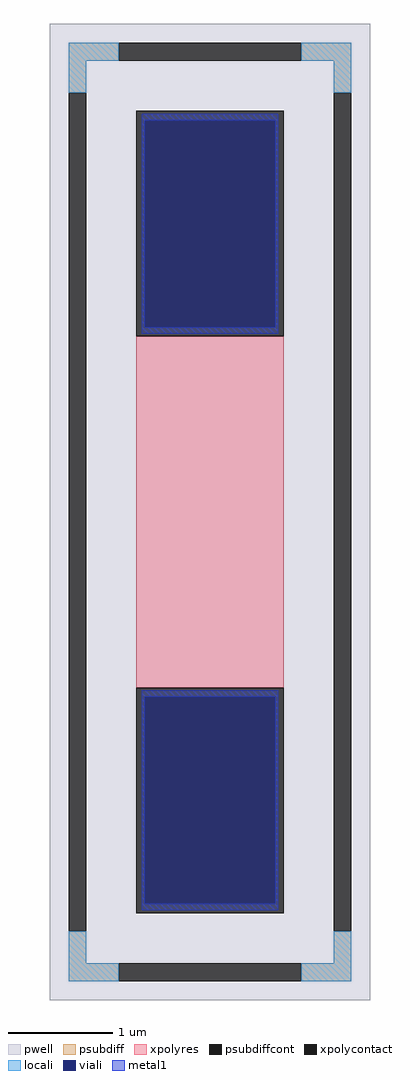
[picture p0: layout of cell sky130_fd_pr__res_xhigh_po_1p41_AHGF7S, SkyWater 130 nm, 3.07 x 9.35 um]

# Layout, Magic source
magic
tech sky130A
magscale 1 2
<< pwell >>
rect -307 -935 307 935
<< psubdiff >>
rect -271 865 -175 899
rect 175 865 271 899
rect -271 803 -237 865
rect 237 803 271 865
rect -271 -865 -237 -803
rect 237 -865 271 -803
rect -271 -899 -175 -865
rect 175 -899 271 -865
<< psubdiffcont >>
rect -175 865 175 899
rect -271 -803 -237 803
rect 237 -803 271 803
rect -175 -899 175 -865
<< xpolycontact >>
rect -141 337 141 769
rect -141 -769 141 -337
<< xpolyres >>
rect -141 -337 141 337
<< locali >>
rect -271 865 -175 899
rect 175 865 271 899
rect -271 803 -237 865
rect 237 803 271 865
rect -271 -865 -237 -803
rect 237 -865 271 -803
rect -271 -899 -175 -865
rect 175 -899 271 -865
<< viali >>
rect -125 354 125 751
rect -125 -751 125 -354
<< metal1 >>
rect -131 751 131 763
rect -131 354 -125 751
rect 125 354 131 751
rect -131 342 131 354
rect -131 -354 131 -342
rect -131 -751 -125 -354
rect 125 -751 131 -354
rect -131 -763 131 -751
<< properties >>
string FIXED_BBOX -254 -882 254 882
string gencell sky130_fd_pr__res_xhigh_po_1p41
string library sky130
string parameters w 1.410 l 3.527 m 1 nx 1 wmin 1.410 lmin 0.50 rho 2000 val 5.269k dummy 0 dw 0.0 term 188.2 sterm 0.0 caplen 0 wmax 1.410 guard 1 glc 1 grc 1 gtc 1 gbc 1 compatible {sky130_fd_pr__res_xhigh_po_0p35  sky130_fd_pr__res_xhigh_po_0p69 sky130_fd_pr__res_xhigh_po_1p41  sky130_fd_pr__res_xhigh_po_2p85 sky130_fd_pr__res_xhigh_po_5p73} snake 0 full_metal 1 n_guard 0 hv_guard 0 vias 1 viagb 0 viagt 0 viagl 0 viagr 0
<< end >>
